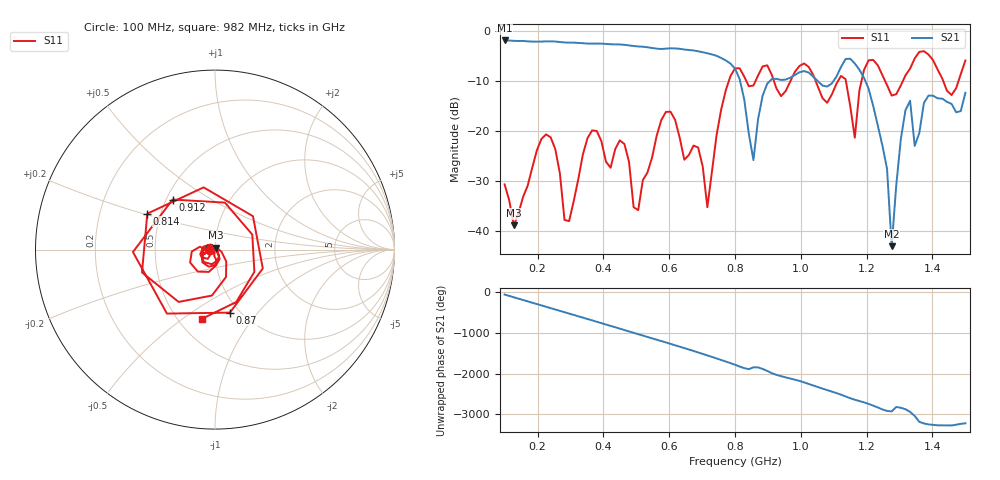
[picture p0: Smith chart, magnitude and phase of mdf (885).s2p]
! NanoVNA-App
! Date: 2025-09-25 15:45:18
! Start: 100MHz Stop: 1,5GHz Points: 101
! S-Parameter data: F S11 S21 S12 S22
# Hz S RI R 50
!  Frequency  S11_Real  S11_Imag  S21_Real  S21_Imag  S12_Real  S12_Imag  S22_Real  S22_Imag
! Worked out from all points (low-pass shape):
!   101 points, 100 MHz to 1.5 GHz, reference 50 ohm
!   highest |S21| = -1.80 dB at 100 MHz (marker M1); lowest = -43.1 dB at 1.276 GHz (marker M2)
!   |S21| within 3 dB of the highest: start of sweep to 739.6 MHz
!   lowest |S11| = -39.0 dB at 128 MHz (marker M3), VSWR 1.02, Z = 50.3 + j1.08 ohm
!   |S11| at or under -10 dB: start of sweep to 781 MHz; 918.5 MHz to 968.2 MHz (49.73 MHz wide, 5.27 % of centre); 1.045 GHz to 1.113 GHz (67.39 MHz wide, 6.25 % of centre) (the widest 3 of 7)
!   S12 and S22 are empty: the file has one direction only
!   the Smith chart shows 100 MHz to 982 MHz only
!   S11 on the Smith chart (normalised r, x): 100 MHz: 0.94, -0.01; 814 MHz: 0.42, +0.21; 870 MHz: 0.90, -0.73; 912 MHz: 0.54, +0.35; 982 MHz: 0.65, -0.59
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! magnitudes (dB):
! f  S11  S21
! 100 MHz  -30.7  -1.8
! 128 MHz  -39.0  -1.9
! 212 MHz  -21.6  -2.0
! 282 MHz  -37.9  -2.2
! 338 MHz  -24.7  -2.4
! 464 MHz  -22.6  -2.7
! 506 MHz  -35.9  -3.0
! 576 MHz  -17.8  -3.5
! 716 MHz  -35.3  -4.4
! 800 MHz  -7.4  -7.4
! 814 MHz  -7.4  -9.5
! 856 MHz  -10.9  -25.9
! 870 MHz  -8.9  -17.7
! 912 MHz  -8.7  -9.6
! 982 MHz  -8.1  -8.7
! 1.038 GHz  -8.8  -9.1
! 1.164 GHz  -21.3  -6.4
! 1.192 GHz  -7.7  -9.3
! 1.262 GHz  -10.8  -27.6
! 1.276 GHz  -12.9  -43.1
! 1.318 GHz  -8.8  -15.8
! 1.5 GHz  -5.8  -12.3
